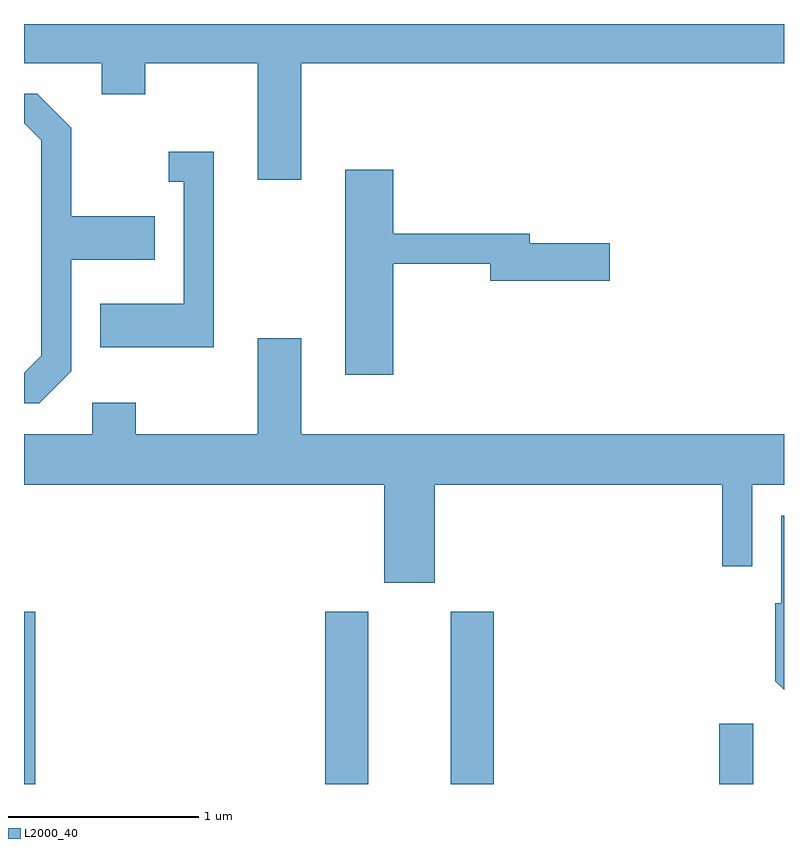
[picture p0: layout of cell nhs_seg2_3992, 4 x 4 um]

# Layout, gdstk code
import gdstk
lib = gdstk.Library(unit=1e-6, precision=1e-09)
def R(c, l, rs):  # rectangles x0, y0, x1, y1
    for r in rs: c.add(gdstk.rectangle(r[:2], r[2:], *l))
def P(c, l, *ps):  # polygons
    for p in ps: c.add(gdstk.Polygon(p, *l))
L2000_40 = (2000, 40)

nhs_seg2_3992 = lib.new_cell('nhs_seg2_3992')
R(nhs_seg2_3992, L2000_40, [(301.611,1097.802,301.669,1098.709), (303.196,1097.802,303.424,1098.709), (303.856,1097.802,304.084,1098.709), (305.271,1097.802,305.449,1098.119)])
P(nhs_seg2_3992, L2000_40, [(303.069,1101.596),(305.611,1101.596),(305.611,1101.802),(301.611,1101.802),(301.611,1101.596),(302.021,1101.596),(302.021,1101.431),(302.249,1101.431),(302.249,1101.596),(302.841,1101.596),(302.841,1100.981),(303.069,1100.981)],
  [(301.859,1099.974),(301.859,1100.561),(302.299,1100.561),(302.299,1100.789),(301.859,1100.789),(301.859,1101.257),(301.682,1101.434),(301.611,1101.434),(301.611,1101.276),(301.614,1101.276),(301.701,1101.189),(301.701,1100.057),(301.611,1099.966),(301.611,1099.806),(301.692,1099.806)],
  [(302.609,1101.129),(302.373,1101.129),(302.373,1100.971),(302.451,1100.971),(302.451,1100.329),(302.011,1100.329),(302.011,1100.101),(302.609,1100.101)],
  [(303.554,1100.541),(304.066,1100.541),(304.066,1100.451),(304.694,1100.451),(304.694,1100.649),(304.274,1100.649),(304.274,1100.699),(303.554,1100.699),(303.554,1101.034),(303.301,1101.034),(303.301,1099.956),(303.554,1099.956)],
  [(303.774,1099.376),(305.286,1099.376),(305.286,1098.948),(305.444,1098.948),(305.444,1099.376),(305.611,1099.376),(305.611,1099.644),(303.069,1099.644),(303.069,1100.149),(302.841,1100.149),(302.841,1099.644),(302.199,1099.644),(302.199,1099.809),(301.971,1099.809),(301.971,1099.644),(301.611,1099.644),(301.611,1099.376),(303.506,1099.376),(303.506,1098.861),(303.774,1098.861)],
  [(305.611,1099.214),(305.596,1099.214),(305.596,1098.754),(305.566,1098.754),(305.566,1098.344),(305.611,1098.299)])

lib.write_gds('nhs_seg2_3992.gds')
